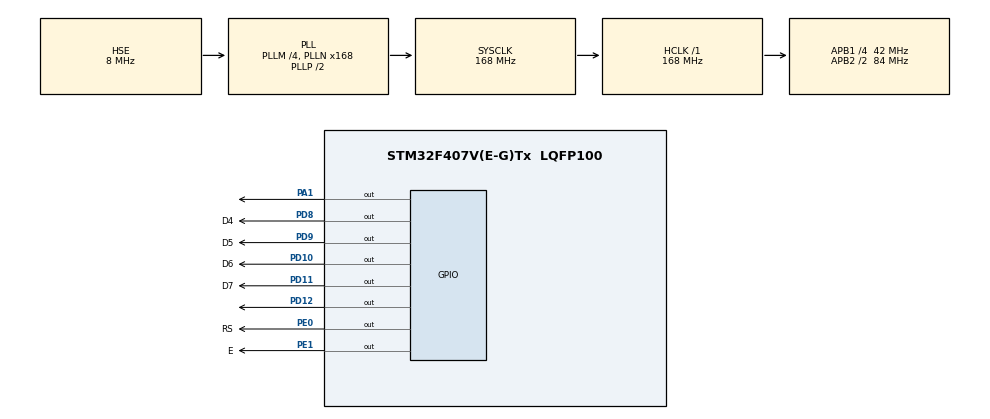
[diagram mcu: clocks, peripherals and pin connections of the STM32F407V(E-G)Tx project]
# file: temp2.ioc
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Mcu.Family=STM32F4
Mcu.Name=STM32F407V(E-G)Tx
Mcu.Package=LQFP100
NVIC.PriorityGroup=NVIC_PRIORITYGROUP_4
NVIC.TIM4_IRQn=true\:1\:0\:true\:false\:true\:true\:true
PA1.Signal=GPIO_Output
PD10.GPIO_Label=D6
PD10.Signal=GPIO_Output
PD11.GPIO_Label=D7
PD11.Signal=GPIO_Output
PD12.Signal=GPIO_Output
PD8.GPIO_Label=D4
PD8.Signal=GPIO_Output
PD9.GPIO_Label=D5
PD9.Signal=GPIO_Output
PE0.GPIO_Label=RS
PE0.Signal=GPIO_Output
PE1.GPIO_Label=E
PE1.Signal=GPIO_Output
PH0-OSC_IN.Mode=HSE-External-Oscillator
PH0-OSC_IN.Signal=RCC_OSC_IN
PH1-OSC_OUT.Mode=HSE-External-Oscillator
PH1-OSC_OUT.Signal=RCC_OSC_OUT
ProjectManager.HeapSize=0x200
ProjectManager.StackSize=0x400
ProjectManager.TargetToolchain=STM32CubeIDE
RCC.48MHZClocksFreq_Value=84000000
RCC.AHBFreq_Value=168000000
RCC.APB1CLKDivider=RCC_HCLK_DIV4
RCC.APB1Freq_Value=42000000
RCC.APB1TimFreq_Value=84000000
RCC.APB2CLKDivider=RCC_HCLK_DIV2
RCC.APB2Freq_Value=84000000
RCC.APB2TimFreq_Value=168000000
RCC.CortexFreq_Value=168000000
RCC.HCLKFreq_Value=168000000
RCC.HSE_VALUE=8000000
RCC.HSI_VALUE=16000000
RCC.LSE_VALUE=32768
RCC.PLLM=4
RCC.PLLN=168
RCC.PLLSourceVirtual=RCC_PLLSOURCE_HSE
RCC.SYSCLKFreq_VALUE=168000000
RCC.SYSCLKSource=RCC_SYSCLKSOURCE_PLLCLK
RCC.VCOOutputFreq_Value=336000000
TIM3.Period=0xffff-1
TIM3.Prescaler=84-1
TIM4.Period=29999
TIM4.Prescaler=8399
VP_TIM3_VS_ClockSourceINT.Mode=Internal
VP_TIM4_VS_ClockSourceINT.Mode=Internal
board=custom

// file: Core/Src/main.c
/* USER CODE BEGIN Header */
/**
  ******************************************************************************
  * @file           : main.c
  * @brief          : Main program body
  ******************************************************************************
  * @attention
  *
  * <h2><center>&copy; Copyright (c) 2020 STMicroelectronics.
  * All rights reserved.</center></h2>
  *
  * This software component is licensed by ST under BSD 3-Clause license,
  * the "License"; You may not use this file except in compliance with the
  * License. You may obtain a copy of the License at:
  *                        opensource.org/licenses/BSD-3-Clause
  *
  ******************************************************************************
  */
/* USER CODE END Header */

#include "main.h"

/* USER CODE BEGIN Includes */
#include "stdio.h"
#include "lcd1602.h"
#include "ds18b20.h"
/* USER CODE END Includes */

TIM_HandleTypeDef htim3;
TIM_HandleTypeDef htim4;

/* USER CODE BEGIN PV */
int TEMP_beforeComma, TEMP_decimalParts;
float TEMP_floatDecimalParts;
float TEMP_value = 0;
uint8_t TEMP_byte1, TEMP_byte2, DS18B20_presence;
uint16_t TEMP_bytes;
char TEMP_charValue[6];
/* USER CODE END PV */

void SystemClock_Config(void);
static void MX_GPIO_Init(void);
static void MX_TIM3_Init(void);
static void MX_TIM4_Init(void);
/* USER CODE BEGIN PFP */
void delay(uint16_t time){
	__HAL_TIM_SET_COUNTER(&htim3, 0);
	while((__HAL_TIM_GET_COUNTER(&htim3))<time);
}

void HAL_TIM_PeriodElapsedCallback(TIM_HandleTypeDef *htim){

	if(htim->Instance == TIM4){ //Czujnik temperatury
		DS18B20_presence = DS18B20_Start();
		if(DS18B20_presence == -1){
			HAL_GPIO_WritePin(GPIOD, GPIO_PIN_13,1);
		}
		//HAL_Delay(1);
		delay(1000);
		DS18B20_Write(0xCC);
		DS18B20_Write(0x44);
		//HAL_Delay(800);
		//delay(800000);
		delay(60000);
		delay(60000);
		delay(60000);
		delay(60000);
		delay(60000);
		delay(60000);
		delay(60000);
		delay(60000);
		delay(60000);
		delay(60000);
		delay(60000);
		delay(60000);
		delay(60000);
		delay(20000);

		DS18B20_presence = DS18B20_Start();
		if(DS18B20_presence == -1){
			HAL_GPIO_WritePin(GPIOD, GPIO_PIN_14,1);
				}
		//HAL_Delay(1);
		delay(1000);
		DS18B20_Write(0xCC);
		DS18B20_Write(0xBE);

		TEMP_byte1 = DS18B20_Read();
		TEMP_byte2 = DS18B20_Read();
		TEMP_bytes = (TEMP_byte2<<8)|TEMP_byte1;
		TEMP_value = (float)TEMP_bytes/16;

		TEMP_beforeComma = (int)TEMP_value;
		TEMP_floatDecimalParts = TEMP_value - TEMP_beforeComma;
		TEMP_decimalParts = trunc(TEMP_floatDecimalParts*10);
		sprintf(TEMP_charValue, "%d.%d",TEMP_beforeComma,TEMP_decimalParts);

	}
}
/* USER CODE END PFP */

int main(void)
{

  /* MCU Configuration--------------------------------------------------------*/

  /* Reset of all peripherals, Initializes the Flash interface and the Systick. */
  HAL_Init();

  /* Configure the system clock */
  SystemClock_Config();

  /* Initialize all configured peripherals */
  MX_GPIO_Init();
  MX_TIM3_Init();
  MX_TIM4_Init();
  /* USER CODE BEGIN 2 */
  HAL_TIM_Base_Start(&htim3);
      HAL_TIM_Base_Start_IT(&htim4);

      LCD1602_Begin4BIT(RS_GPIO_Port, RS_Pin, E_Pin, D4_GPIO_Port, D4_Pin, D5_Pin, D6_Pin, D7_Pin);

      //LCD1602_clear();
      //LCD1602_setCursor(1,1);
     // LCD1602_print("Hello");

      /* USER CODE END 2 */

  /* Infinite loop */
  /* USER CODE BEGIN WHILE */
  while (1)
  {
	  LCD1602_clear();
	  	 	  LCD1602_setCursor(1,1);
	  	 	  LCD1602_print(TEMP_charValue);

	  	 	  HAL_Delay(1000);

    /* USER CODE END WHILE */

  }
}

void SystemClock_Config(void)
{
  RCC_OscInitTypeDef RCC_OscInitStruct = {0};
  RCC_ClkInitTypeDef RCC_ClkInitStruct = {0};

  /** Configure the main internal regulator output voltage
  */
  __HAL_RCC_PWR_CLK_ENABLE();
  __HAL_PWR_VOLTAGESCALING_CONFIG(PWR_REGULATOR_VOLTAGE_SCALE1);
  /** Initializes the CPU, AHB and APB busses clocks
  */
  RCC_OscInitStruct.OscillatorType = RCC_OSCILLATORTYPE_HSE;
  RCC_OscInitStruct.HSEState = RCC_HSE_ON;
  RCC_OscInitStruct.PLL.PLLState = RCC_PLL_ON;
  RCC_OscInitStruct.PLL.PLLSource = RCC_PLLSOURCE_HSE;
  RCC_OscInitStruct.PLL.PLLM = 4;
  RCC_OscInitStruct.PLL.PLLN = 168;
  RCC_OscInitStruct.PLL.PLLP = RCC_PLLP_DIV2;
  RCC_OscInitStruct.PLL.PLLQ = 4;
  if (HAL_RCC_OscConfig(&RCC_OscInitStruct) != HAL_OK)
  {
    Error_Handler();
  }
  /** Initializes the CPU, AHB and APB busses clocks
  */
  RCC_ClkInitStruct.ClockType = RCC_CLOCKTYPE_HCLK|RCC_CLOCKTYPE_SYSCLK
                              |RCC_CLOCKTYPE_PCLK1|RCC_CLOCKTYPE_PCLK2;
  RCC_ClkInitStruct.SYSCLKSource = RCC_SYSCLKSOURCE_PLLCLK;
  RCC_ClkInitStruct.AHBCLKDivider = RCC_SYSCLK_DIV1;
  RCC_ClkInitStruct.APB1CLKDivider = RCC_HCLK_DIV4;
  RCC_ClkInitStruct.APB2CLKDivider = RCC_HCLK_DIV2;

  if (HAL_RCC_ClockConfig(&RCC_ClkInitStruct, FLASH_LATENCY_5) != HAL_OK)
  {
    Error_Handler();
  }
}

static void MX_TIM3_Init(void)
{

  TIM_ClockConfigTypeDef sClockSourceConfig = {0};
  TIM_MasterConfigTypeDef sMasterConfig = {0};

  htim3.Instance = TIM3;
  htim3.Init.Prescaler = 84-1;
  htim3.Init.CounterMode = TIM_COUNTERMODE_UP;
  htim3.Init.Period = 0xffff-1;
  htim3.Init.ClockDivision = TIM_CLOCKDIVISION_DIV1;
  htim3.Init.AutoReloadPreload = TIM_AUTORELOAD_PRELOAD_DISABLE;
  if (HAL_TIM_Base_Init(&htim3) != HAL_OK)
  {
    Error_Handler();
  }
  sClockSourceConfig.ClockSource = TIM_CLOCKSOURCE_INTERNAL;
  if (HAL_TIM_ConfigClockSource(&htim3, &sClockSourceConfig) != HAL_OK)
  {
    Error_Handler();
  }
  sMasterConfig.MasterOutputTrigger = TIM_TRGO_RESET;
  sMasterConfig.MasterSlaveMode = TIM_MASTERSLAVEMODE_DISABLE;
  if (HAL_TIMEx_MasterConfigSynchronization(&htim3, &sMasterConfig) != HAL_OK)
  {
    Error_Handler();
  }

}

static void MX_TIM4_Init(void)
{

  TIM_ClockConfigTypeDef sClockSourceConfig = {0};
  TIM_MasterConfigTypeDef sMasterConfig = {0};

  htim4.Instance = TIM4;
  htim4.Init.Prescaler = 8399;
  htim4.Init.CounterMode = TIM_COUNTERMODE_UP;
  htim4.Init.Period = 29999;
  htim4.Init.ClockDivision = TIM_CLOCKDIVISION_DIV1;
  htim4.Init.AutoReloadPreload = TIM_AUTORELOAD_PRELOAD_DISABLE;
  if (HAL_TIM_Base_Init(&htim4) != HAL_OK)
  {
    Error_Handler();
  }
  sClockSourceConfig.ClockSource = TIM_CLOCKSOURCE_INTERNAL;
  if (HAL_TIM_ConfigClockSource(&htim4, &sClockSourceConfig) != HAL_OK)
  {
    Error_Handler();
  }
  sMasterConfig.MasterOutputTrigger = TIM_TRGO_RESET;
  sMasterConfig.MasterSlaveMode = TIM_MASTERSLAVEMODE_DISABLE;
  if (HAL_TIMEx_MasterConfigSynchronization(&htim4, &sMasterConfig) != HAL_OK)
  {
    Error_Handler();
  }

}

static void MX_GPIO_Init(void)
{
  GPIO_InitTypeDef GPIO_InitStruct = {0};

  /* GPIO Ports Clock Enable */
  __HAL_RCC_GPIOH_CLK_ENABLE();
  __HAL_RCC_GPIOA_CLK_ENABLE();
  __HAL_RCC_GPIOD_CLK_ENABLE();
  __HAL_RCC_GPIOE_CLK_ENABLE();

  /*Configure GPIO pin Output Level */
  HAL_GPIO_WritePin(GPIOA, GPIO_PIN_1, GPIO_PIN_RESET);

  /*Configure GPIO pin Output Level */
  HAL_GPIO_WritePin(GPIOD, D4_Pin|D5_Pin|D6_Pin|D7_Pin
                          |GPIO_PIN_12, GPIO_PIN_RESET);

  /*Configure GPIO pin Output Level */
  HAL_GPIO_WritePin(GPIOE, RS_Pin|E_Pin, GPIO_PIN_RESET);

  /*Configure GPIO pin : PA1 */
  GPIO_InitStruct.Pin = GPIO_PIN_1;
  GPIO_InitStruct.Mode = GPIO_MODE_OUTPUT_PP;
  GPIO_InitStruct.Pull = GPIO_NOPULL;
  GPIO_InitStruct.Speed = GPIO_SPEED_FREQ_LOW;
  HAL_GPIO_Init(GPIOA, &GPIO_InitStruct);

  /*Configure GPIO pins : D4_Pin D5_Pin D6_Pin D7_Pin
                           PD12 */
  GPIO_InitStruct.Pin = D4_Pin|D5_Pin|D6_Pin|D7_Pin
                          |GPIO_PIN_12;
  GPIO_InitStruct.Mode = GPIO_MODE_OUTPUT_PP;
  GPIO_InitStruct.Pull = GPIO_NOPULL;
  GPIO_InitStruct.Speed = GPIO_SPEED_FREQ_LOW;
  HAL_GPIO_Init(GPIOD, &GPIO_InitStruct);

  /*Configure GPIO pins : RS_Pin E_Pin */
  GPIO_InitStruct.Pin = RS_Pin|E_Pin;
  GPIO_InitStruct.Mode = GPIO_MODE_OUTPUT_PP;
  GPIO_InitStruct.Pull = GPIO_NOPULL;
  GPIO_InitStruct.Speed = GPIO_SPEED_FREQ_LOW;
  HAL_GPIO_Init(GPIOE, &GPIO_InitStruct);

}

void Error_Handler(void)
{
}

/************************ (C) COPYRIGHT STMicroelectronics *****END OF FILE****/
